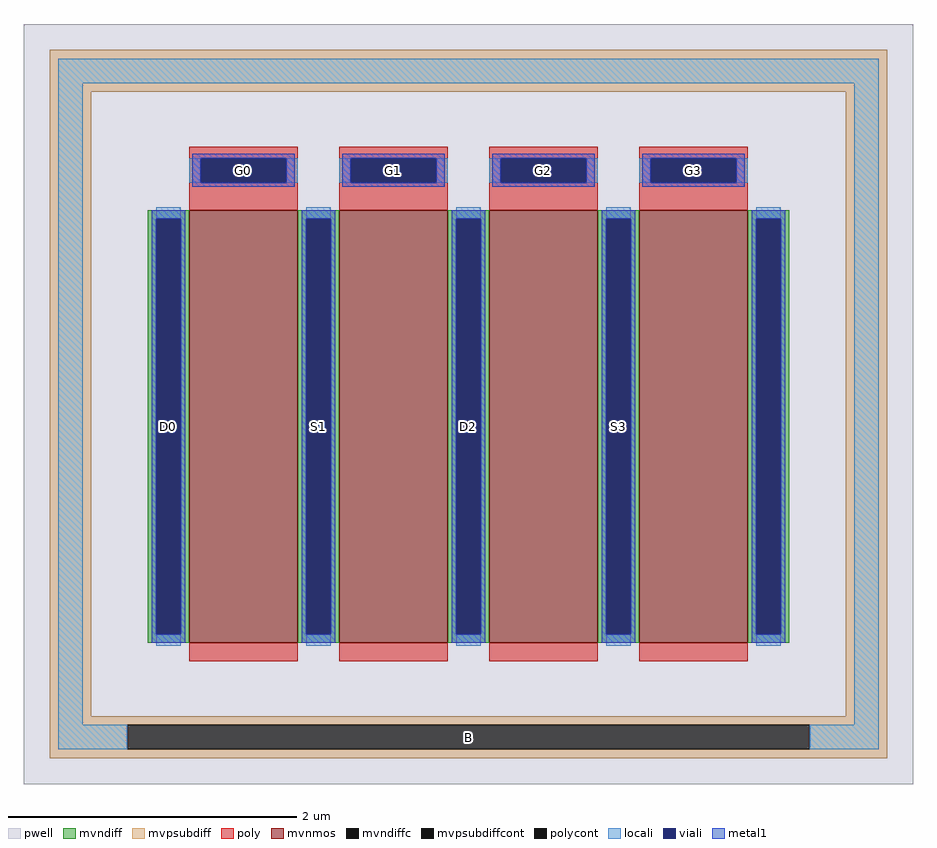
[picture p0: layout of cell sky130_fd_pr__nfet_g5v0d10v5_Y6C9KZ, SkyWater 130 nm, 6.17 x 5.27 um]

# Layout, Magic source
magic
tech sky130A
magscale 1 2
<< pwell >>
rect -617 -527 617 527
<< mvnmos >>
rect -387 -331 -237 269
rect -179 -331 -29 269
rect 29 -331 179 269
rect 237 -331 387 269
<< mvndiff >>
rect -445 257 -387 269
rect -445 -319 -433 257
rect -399 -319 -387 257
rect -445 -331 -387 -319
rect -237 257 -179 269
rect -237 -319 -225 257
rect -191 -319 -179 257
rect -237 -331 -179 -319
rect -29 257 29 269
rect -29 -319 -17 257
rect 17 -319 29 257
rect -29 -331 29 -319
rect 179 257 237 269
rect 179 -319 191 257
rect 225 -319 237 257
rect 179 -331 237 -319
rect 387 257 445 269
rect 387 -319 399 257
rect 433 -319 445 257
rect 387 -331 445 -319
<< mvndiffc >>
rect -433 -319 -399 257
rect -225 -319 -191 257
rect -17 -319 17 257
rect 191 -319 225 257
rect 399 -319 433 257
<< mvpsubdiff >>
rect -581 433 581 491
rect -581 -433 -523 433
rect 523 -433 581 433
rect -581 -445 581 -433
rect -581 -479 -473 -445
rect 473 -479 581 -445
rect -581 -491 581 -479
<< mvpsubdiffcont >>
rect -473 -479 473 -445
<< poly >>
rect -387 341 -237 357
rect -387 307 -371 341
rect -253 307 -237 341
rect -387 269 -237 307
rect -179 341 -29 357
rect -179 307 -163 341
rect -45 307 -29 341
rect -179 269 -29 307
rect 29 341 179 357
rect 29 307 45 341
rect 163 307 179 341
rect 29 269 179 307
rect 237 341 387 357
rect 237 307 253 341
rect 371 307 387 341
rect 237 269 387 307
rect -387 -357 -237 -331
rect -179 -357 -29 -331
rect 29 -357 179 -331
rect 237 -357 387 -331
<< polycont >>
rect -371 307 -253 341
rect -163 307 -45 341
rect 45 307 163 341
rect 253 307 371 341
<< locali >>
rect -569 445 569 479
rect -569 -445 -535 445
rect -387 307 -371 341
rect -253 307 -237 341
rect -179 307 -163 341
rect -45 307 -29 341
rect 29 307 45 341
rect 163 307 179 341
rect 237 307 253 341
rect 371 307 387 341
rect -433 257 -399 273
rect -433 -335 -399 -319
rect -225 257 -191 273
rect -225 -335 -191 -319
rect -17 257 17 273
rect -17 -335 17 -319
rect 191 257 225 273
rect 191 -335 225 -319
rect 399 257 433 273
rect 399 -335 433 -319
rect 535 -445 569 445
rect -569 -479 -473 -445
rect 473 -479 569 -445
<< viali >>
rect -371 307 -253 341
rect -163 307 -45 341
rect 45 307 163 341
rect 253 307 371 341
rect -433 -319 -399 257
rect -225 -319 -191 257
rect -17 -319 17 257
rect 191 -319 225 257
rect 399 -319 433 257
<< metal1 >>
rect -383 341 -241 347
rect -383 307 -371 341
rect -253 307 -241 341
rect -383 301 -241 307
rect -175 341 -33 347
rect -175 307 -163 341
rect -45 307 -33 341
rect -175 301 -33 307
rect 33 341 175 347
rect 33 307 45 341
rect 163 307 175 341
rect 33 301 175 307
rect 241 341 383 347
rect 241 307 253 341
rect 371 307 383 341
rect 241 301 383 307
rect -439 257 -393 269
rect -439 -319 -433 257
rect -399 -319 -393 257
rect -439 -331 -393 -319
rect -231 257 -185 269
rect -231 -319 -225 257
rect -191 -319 -185 257
rect -231 -331 -185 -319
rect -23 257 23 269
rect -23 -319 -17 257
rect 17 -319 23 257
rect -23 -331 23 -319
rect 185 257 231 269
rect 185 -319 191 257
rect 225 -319 231 257
rect 185 -331 231 -319
rect 393 257 439 269
rect 393 -319 399 257
rect 433 -319 439 257
rect 393 -331 439 -319
<< labels >>
rlabel mvpsubdiffcont 0 -462 0 -462 0 B
port 1 nsew
rlabel mvndiffc -416 -31 -416 -31 0 D0
port 2 nsew
rlabel polycont -312 324 -312 324 0 G0
port 3 nsew
rlabel mvndiffc -208 -31 -208 -31 0 S1
port 4 nsew
rlabel polycont -104 324 -104 324 0 G1
port 5 nsew
rlabel mvndiffc 0 -31 0 -31 0 D2
port 6 nsew
rlabel polycont 104 324 104 324 0 G2
port 7 nsew
rlabel mvndiffc 208 -31 208 -31 0 S3
port 8 nsew
rlabel polycont 312 324 312 324 0 G3
port 9 nsew
<< properties >>
string FIXED_BBOX -552 -462 552 462
string gencell sky130_fd_pr__nfet_g5v0d10v5
string library sky130
string parameters w 3.0 l 0.75 m 1 nf 4 diffcov 100 polycov 100 guard 1 glc 0 grc 0 gtc 0 gbc 1 tbcov 100 rlcov 100 topc 1 botc 0 poverlap 0 doverlap 1 lmin 0.50 wmin 0.42 class mosfet compatible {sky130_fd_pr__nfet_01v8 sky130_fd_pr__nfet_01v8_lvt  sky130_fd_bs_flash__special_sonosfet_star  sky130_fd_pr__nfet_g5v0d10v5 sky130_fd_pr__nfet_05v0_nvt  sky130_fd_pr__nfet_03v3_nvt} full_metal 1 conn_gates 0 viasrc 100 viadrn 100 viagate 100 viagb 0 viagr 0 viagl 0 viagt 0 doports 1
<< end >>
